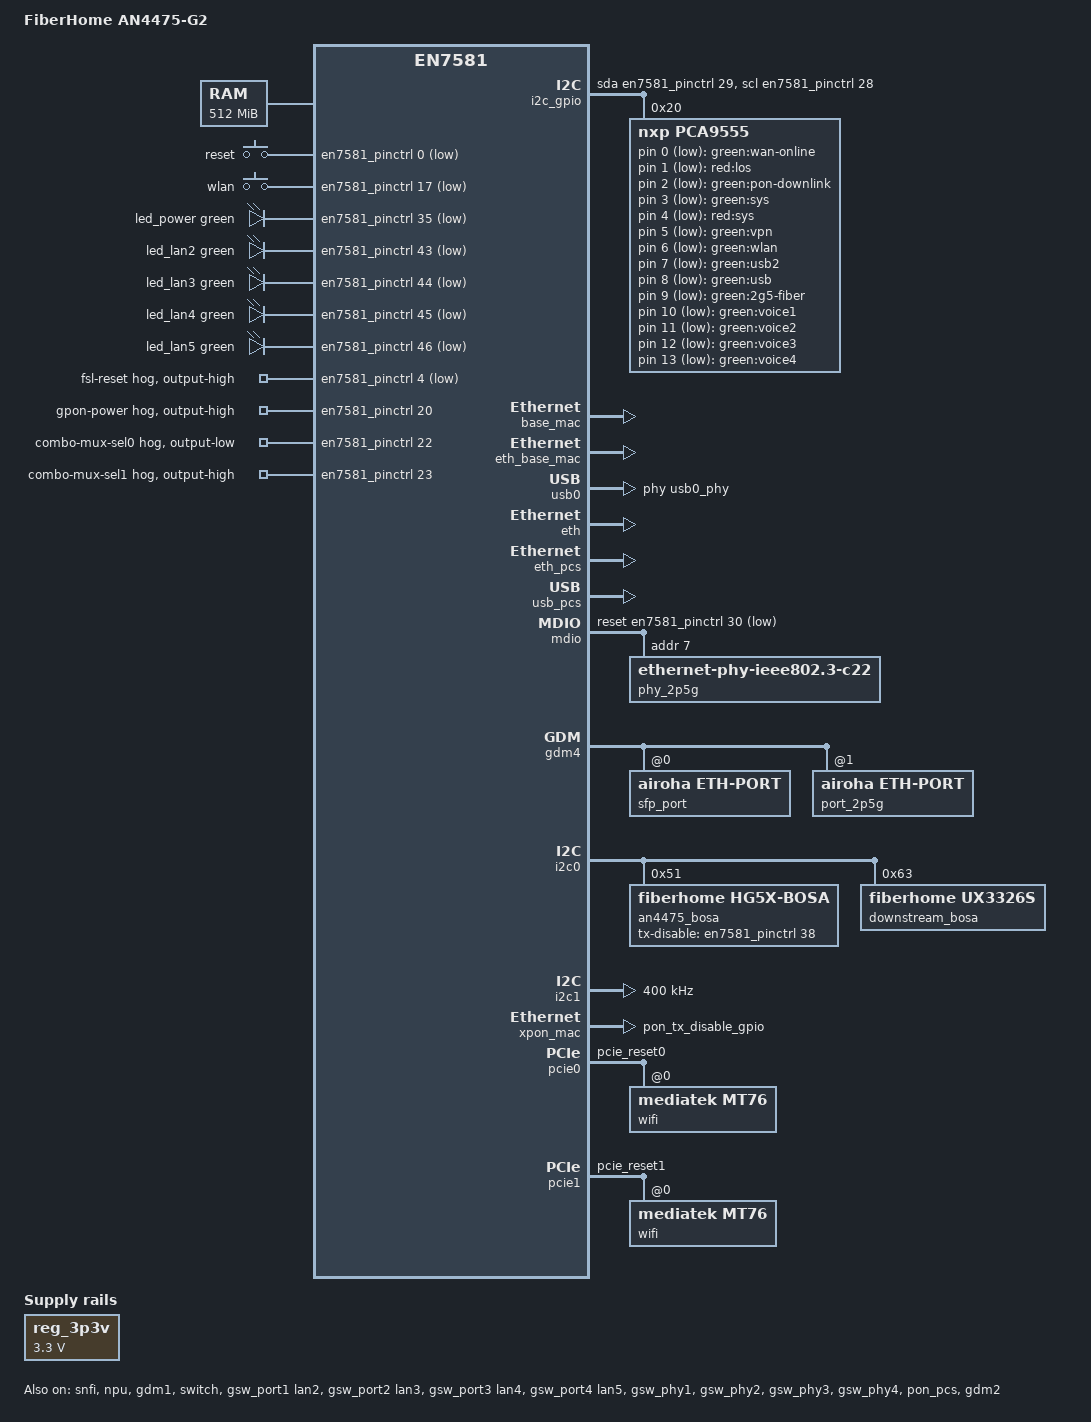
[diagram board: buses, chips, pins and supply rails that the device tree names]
// SPDX-License-Identifier: (GPL-2.0-only OR BSD-2-Clause)
/dts-v1/;

/memreserve/ 0x80000000 0x200000;

#include <dt-bindings/gpio/gpio.h>
#include <dt-bindings/input/input.h>
#include <dt-bindings/leds/common.h>
#include <dt-bindings/clock/en7523-clk.h>
#include <dt-bindings/reset/airoha,en7581-reset.h>
#include "an7581.dtsi"


/ {
	model = "FiberHome AN4475-G2";
	compatible = "fiberhome,an4475-g2", "airoha,an7581", "airoha,en7581";
	variant = "usb-sfp";

	aliases {
		label-mac-device = &gdm2;
		led-boot = &led_power;
		led-failsafe = &led_power;
		led-running = &led_power;
		led-upgrade = &led_power;

		serial0 = &uart1;
	};

	chosen {
		rootdisk = <&ubi_fit>;
		bootargs = "console=ttyS0,115200 earlycon";
		stdout-path = "serial0:115200n8";
	};

	memory@80000000 {
		device_type = "memory";
		reg = <0x0 0x80000000 0x0 0x20000000>;
	};

	keys {
		compatible = "gpio-keys";

		key-reset {
			label = "reset";
			linux,code = <KEY_RESTART>;
			gpios = <&en7581_pinctrl 0 GPIO_ACTIVE_LOW>;
			debounce-interval = <60>;
		};

		key-wlan {
			label = "wlan";
			linux,code = <KEY_WLAN>;
			gpios = <&en7581_pinctrl 17 GPIO_ACTIVE_LOW>;
			debounce-interval = <60>;
		};
	};


	leds {
		compatible = "gpio-leds";

		led_power: led-power {
			color = <LED_COLOR_ID_GREEN>;
			function = LED_FUNCTION_POWER;
			gpios = <&en7581_pinctrl 35 GPIO_ACTIVE_LOW>;
			default-state = "on";
			panic-indicator;
		};

		led_lan2: led-lan2 {
			color = <LED_COLOR_ID_GREEN>;
			function = LED_FUNCTION_LAN;
			function-enumerator = <2>;
			gpios = <&en7581_pinctrl 43 GPIO_ACTIVE_LOW>;
		};

		led_lan3: led-lan3 {
			color = <LED_COLOR_ID_GREEN>;
			function = LED_FUNCTION_LAN;
			function-enumerator = <3>;
			gpios = <&en7581_pinctrl 44 GPIO_ACTIVE_LOW>;
		};

		led_lan4: led-lan4 {
			color = <LED_COLOR_ID_GREEN>;
			function = LED_FUNCTION_LAN;
			function-enumerator = <4>;
			gpios = <&en7581_pinctrl 45 GPIO_ACTIVE_LOW>;
		};

		led_lan5: led-lan5 {
			color = <LED_COLOR_ID_GREEN>;
			function = LED_FUNCTION_LAN;
			function-enumerator = <5>;
			gpios = <&en7581_pinctrl 46 GPIO_ACTIVE_LOW>;
		};
	};

	i2c_gpio: i2c-gpio {
		compatible = "i2c-gpio";
		sda-gpios = <&en7581_pinctrl 29 (GPIO_ACTIVE_HIGH | GPIO_OPEN_DRAIN)>;
		scl-gpios = <&en7581_pinctrl 28 (GPIO_ACTIVE_HIGH | GPIO_OPEN_DRAIN)>;
		i2c-gpio,delay-us = <10>;	/* ~50 kHz, conservative */
		i2c-gpio,timeout-ms = <100>;
		#address-cells = <1>;
		#size-cells = <0>;

		pca9555: gpio@20 {
			compatible = "nxp,pca9555";
			reg = <0x20>;
			gpio-controller;
			#gpio-cells = <2>;
		};
	};

	leds_expander: leds-expander {
		compatible = "gpio-leds";

		/* P0.0 - 面板丝印"光纤" */
		led_online: pon0-online {
			label = "green:wan-online";
			gpios = <&pca9555 0 GPIO_ACTIVE_LOW>;
			linux,default-trigger = "pon0-online";
		};

		/* P0.1 - 面板丝印"光信号"（LOS 告警，红色）*/
		led_los: pon0-los {
			label = "red:los";
			gpios = <&pca9555 1 GPIO_ACTIVE_LOW>;
			linux,default-trigger = "pon0-los";
		};

		/* P0.2 - 面板丝印"下行PON"（绿色，FTTR 下联口状态） */
		led_pon_downlink: led-pon-downlink {
			label = "green:pon-downlink";
			gpios = <&pca9555 2 GPIO_ACTIVE_LOW>;
			default-state = "off";
		};

		/*
		 * P0.3 / P0.4 - 面板丝印"系统"，一颗双色灯
		 * 拉低 P0.3 得绿、拉低 P0.4 得红（同时拉低呈偏黄）。
		 */
		led_sys: led-sys {
			label = "green:sys";
			gpios = <&pca9555 3 GPIO_ACTIVE_LOW>;
			default-state = "on";
		};

		led_sys_red: led-sys-red {
			label = "red:sys";
			gpios = <&pca9555 4 GPIO_ACTIVE_LOW>;
			default-state = "off";
		};

		/* P0.5 - 面板丝印"VPN" */
		led_vpn: led-vpn {
			label = "green:vpn";
			gpios = <&pca9555 5 GPIO_ACTIVE_LOW>;
			default-state = "off";
		};

		/* P0.6 - 面板丝印"WLAN" */
		led_wlan: led-wlan {
			label = "green:wlan";
			gpios = <&pca9555 6 GPIO_ACTIVE_LOW>;
			default-state = "keep";
		};

		led_usb2: led-usb2 {
			label = "green:usb2";
			gpios = <&pca9555 7 GPIO_ACTIVE_LOW>;
			default-state = "off";
		};

		led_usb1: led-usb1 {
			label = "green:usb";
			gpios = <&pca9555 8 GPIO_ACTIVE_LOW>;
			default-state = "off";
		};

		/* 2.5G 光电复用口的光口（SFP 笼）指示，与 PHY 侧无关 */
		led_2g5_fiber: led-2g5-fiber {
			label = "green:2g5-fiber";
			gpios = <&pca9555 9 GPIO_ACTIVE_LOW>;
			default-state = "off";
		};

		led_voice1: led-voice-1 {
			label = "green:voice1";
			gpios = <&pca9555 10 GPIO_ACTIVE_LOW>;
			default-state = "off";
		};

		led_voice2: led-voice-2 {
			label = "green:voice2";
			gpios = <&pca9555 11 GPIO_ACTIVE_LOW>;
			default-state = "off";
		};

		led_voice3: led-voice-3 {
			label = "green:voice3";
			gpios = <&pca9555 12 GPIO_ACTIVE_LOW>;
			default-state = "off";
		};

		led_voice4: led-voice-4 {
			label = "green:voice4";
			gpios = <&pca9555 13 GPIO_ACTIVE_LOW>;
			default-state = "off";
		};
	};

	/* The USB PHY 3.3V reference supply is always on. */
	reg_3p3v: regulator-3p3v {
		compatible = "regulator-fixed";
		regulator-always-on;
		regulator-boot-on;
		regulator-min-microvolt = <3300000>;
		regulator-max-microvolt = <3300000>;
		regulator-name = "fixed-3.3V";
	};

};

&en7581_pinctrl {
	gpio-ranges = <&en7581_pinctrl 0 13 50>;

	pon_pins: pon-pins {
		mux {
			function = "pon";
			groups = "pon_tx_disable_gpio";
		};
	};

	downstream_pon_spi_pins: downstream-pon-spi-pins {
		mux {
			function = "pcm_spi";
			groups = "pcm_spi";
		};
	};

	mdio_pins: mdio-pins {
		mux {
			function = "mdio";
			groups = "mdio";
		};

		conf {
			pins = "gpio2";
			output-high;
		};
	};
	
	pcie0_rst_pins: pcie0-rst-pins {
		conf {
			pins = "pcie_reset0";
			drive-open-drain = <1>;
		};
	};

	pcie1_rst_pins: pcie1-rst-pins {
		conf {
			pins = "pcie_reset1";
			drive-open-drain = <1>;
		};
	};

	i2c1_pins: i2c1-pins {
		mux {
			function = "i2c";
			groups = "i2c1";
		};
	};


	fsl_reset_hog: fsl-reset-hog {
		gpio-hog;
		gpios = <4 GPIO_ACTIVE_LOW>;
		output-high;
		line-name = "fsl-reset";
	};


	gpon_power_hog: gpon-power-hog {
		gpio-hog;
		gpios = <20 GPIO_ACTIVE_HIGH>;
		output-high;
		line-name = "gpon-power";
	};

	combo_mux_sel0_hog: combo-mux-sel0-hog {
		gpio-hog;
		gpios = <22 GPIO_ACTIVE_HIGH>;
		output-low;
		line-name = "combo-mux-sel0";
	};

	combo_mux_sel1_hog: combo-mux-sel1-hog {
		gpio-hog;
		gpios = <23 GPIO_ACTIVE_HIGH>;
		output-high;
		line-name = "combo-mux-sel1";
	};

};

&snfi {
	status = "okay";
};

&{/soc} {

	pcm_spi: spi@1fbd4000 {
		compatible = "airoha,en7581-spi", "airoha,spi";
		reg = <0x0 0x1fbd4000 0x0 0x140>;

		clocks = <&scuclk EN7523_CLK_SPI>;
		clock-names = "spi";
		resets = <&scuclk EN7581_SFC2_PCM_RST>;
		reset-names = "pcm";

		#address-cells = <1>;
		#size-cells = <0>;
		spi-num-chipselects = <2>;

		pinctrl-names = "default";
		pinctrl-0 = <&downstream_pon_spi_pins>;

		status = "disabled";

		fsl: fsl@0 {
			compatible = "fiberhome,an4475-g2-fsl";
			reg = <0>;
			spi-max-frequency = <20000000>;
			spi-cpol;
			spi-cpha;
			reset-gpios = <&en7581_pinctrl 4 GPIO_ACTIVE_LOW>;
		};
	};
};

&spi_nand {
	#address-cells = <1>;
	#size-cells = <1>;

	partitions: partitions {
		compatible = "fixed-partitions";
		#address-cells = <1>;
		#size-cells = <1>;

		partition@0 {
			label = "bl2";
			reg = <0x00000000 0x00020000>;
			read-only;
		};

		/* UBI manages every eraseblock after BL2. */
		partition@20000 {
			label = "ubi";
			reg = <0x00020000 0x00000000>;
			compatible = "linux,ubi";

			volumes {
				ubi_fip: ubi-volume-fip {
					/* The second-stage FIP contains BL31 and U-Boot. */
					volname = "fip";
				};

				ubi_env: ubi-volume-ubootenv {
					volname = "ubootenv";
				};

				ubi_env2: ubi-volume-ubootenv2 {
					volname = "ubootenv2";
				};

				ubi_factory: ubi-volume-factory {
					volname = "factory";
				};

				ubi_fit: ubi-volume-fit {
					volname = "fit";
				};
			};
		};
	};
};

&ubi_factory {
	nvmem-layout {
		compatible = "fixed-layout";
		#address-cells = <1>;
		#size-cells = <1>;

		container_magic: magic@0 {
			reg = <0x000000 0x000008>;
		};

		device_serial: device-serial@20 {
			reg = <0x000020 0x000018>;
		};

		pon_serial: pon-serial@a2 {
			reg = <0x0000a2 0x00000c>;
		};

		base_mac: base-mac@40 {
			compatible = "mac-base";
			reg = <0x000040 0x000006>;
			#nvmem-cell-cells = <1>;
		};

		eth_base_mac: eth-base-mac@46 {
			compatible = "mac-base";
			reg = <0x000046 0x000006>;
			#nvmem-cell-cells = <1>;
		};

		oui: oui@4c {
			reg = <0x00004c 0x000003>;
		};

		vendor_code: vendor-code@4f {
			reg = <0x00004f 0x000002>;
		};

		gpon_password: gpon-password@51 {
			reg = <0x000051 0x00000a>;
		};

		internet_mac: internet-mac@60 {
			reg = <0x000060 0x000006>;
		};

		tr069_mac: tr069-mac@66 {
			reg = <0x000066 0x000006>;
		};

		voip_mac: voip-mac@6c {
			reg = <0x00006c 0x000006>;
		};

		priprotocol_mac: priprotocol-mac@72 {
			reg = <0x000072 0x000006>;
		};

		wifi_mac_2g4: wifi-mac-2g4@96 {
			reg = <0x000096 0x000006>;
		};

		wifi_mac_5g: wifi-mac-5g@9c {
			reg = <0x00009c 0x000006>;
		};

		/* MT7993_EEPROM.bin: 1353728 B, stored verbatim, ends at 0x18a800. */
		vendor_eeprom: eeprom-vendor@40000 {
			reg = <0x040000 0x14a800>;
		};

		pon_cal_10ge_asym: calibration-10ge-asym@1a0000 {
			reg = <0x1a0000 0x000800>;
		};

		pon_cal_10ge_sym: calibration-10ge-sym@1a1000 {
			reg = <0x1a1000 0x000800>;
		};

		pon_cal_xg: calibration-xg@1a2000 {
			reg = <0x1a2000 0x000800>;
		};

		pon_cal_xgs: calibration-xgs@1a3000 {
			reg = <0x1a3000 0x000800>;
		};

		pon_calibration: calibration@1a4000 {
			reg = <0x1a4000 0x000800>;
		};

		pon_cal_olt_downlink: calibration-olt-downlink@1a5000 {
			reg = <0x1a5000 0x000800>;
		};

		apd_wtd01: apd-wtd01@1a6000 {
			reg = <0x1a6000 0x00012a>;
		};

		apd_ys01: apd-ys01@1a7000 {
			reg = <0x1a7000 0x00012c>;
		};

		bosa_info: bosa-info@1a8000 {
			reg = <0x1a8000 0x0000e6>;
		};

		bosa_rssi: bosa-rssi@1a9000 {
			reg = <0x1a9000 0x0000cc>;
		};

		lan_optic_tx: lan-optic-tx-calib@1aa000 {
			reg = <0x1aa000 0x000218>;
		};

		wifi_eeprom: eeprom@1ab000 {
			/* Exactly 7680 B = the mt76/OpenWrt EEPROM view. The full
			 * vendor image is 1353728 B (0x14a800) in vendor_eeprom. */
			reg = <0x1ab000 0x001e00>;
		};
	};
};

&ubi_env {
	nvmem-layout {
		compatible = "u-boot,env-redundant-bool";
	};
};

&ubi_env2 {
	nvmem-layout {
		compatible = "u-boot,env-redundant-bool";
	};
};

&usb0 {
	status = "okay";
	mediatek,u3p-dis-msk = <0x1>;
	phys = <&usb0_phy PHY_TYPE_USB2>;
	vusb33-supply = <&reg_3p3v>;
	#address-cells = <1>;
	#size-cells = <0>;
};

&npu {
	status = "okay";
	firmware-name = "airoha/en7581_MT7996_npu_rv32.bin",
			"airoha/en7581_MT7996_npu_data.bin";
};

&eth {
	status = "okay";
};

&gdm1 {
	nvmem-cell-names = "mac-address";
	nvmem-cells = <&eth_base_mac 0>;
	status = "okay";
};

&eth_pcs {
	status = "okay";
};

&usb_pcs {
	status = "okay";
};

&mdio {
	reset-gpios = <&en7581_pinctrl 30 GPIO_ACTIVE_LOW>;
	reset-delay-us = <15000>;
	reset-post-delay-us = <68000>;

	phy_2p5g: ethernet-phy@7 {
		compatible = "ethernet-phy-ieee802.3-c22";
		reg = <7>;
	};
};


&gdm4 {
	/delete-property/ pcs-handle;
	#address-cells = <1>;
	#size-cells = <0>;
	status = "okay";

	sfp_port: ethernet-port@0 {
		compatible = "airoha,eth-port";
		reg = <0>;
		managed = "in-band-status";
		pcs-handle = <&eth_pcs>;
		phy-mode = "2500base-x";
		nvmem-cells = <&eth_base_mac 1>;
		nvmem-cell-names = "mac-address";
		openwrt,netdev-name = "sfp0";
		status = "okay";
	};

	port_2p5g: ethernet-port@1 {
		compatible = "airoha,eth-port";
		reg = <1>;
		pcs-handle = <&usb_pcs>;
		phy-handle = <&phy_2p5g>;
		phy-mode = "2500base-x";
		nvmem-cells = <&eth_base_mac 2>;
		nvmem-cell-names = "mac-address";
		openwrt,netdev-name = "lan1";
		status = "okay";
	};
};

&switch {
	pinctrl-names = "default";
	pinctrl-0 = <&mdio_pins>;
	status = "okay";
};

&gsw_port1 {
	label = "lan2";
	nvmem-cell-names = "mac-address";
	nvmem-cells = <&eth_base_mac 3>;
	status = "okay";
};

&gsw_port2 {
	label = "lan3";
	/* eth3mac */
	nvmem-cell-names = "mac-address";
	nvmem-cells = <&eth_base_mac 4>;
	status = "okay";
};

&gsw_port3 {
	label = "lan4";
	/* eth4mac */
	nvmem-cell-names = "mac-address";
	nvmem-cells = <&eth_base_mac 5>;
	status = "okay";
};

&gsw_port4 {
	label = "lan5";
	/* eth5mac */
	nvmem-cell-names = "mac-address";
	nvmem-cells = <&eth_base_mac 6>;
	status = "okay";
};

&gsw_phy1 {
	interrupts = <1>;
	status = "okay";
};

&gsw_phy2 {
	interrupts = <2>;
	status = "okay";
};

&gsw_phy3 {
	interrupts = <3>;
	status = "okay";
};

&gsw_phy4 {
	interrupts = <4>;
	status = "okay";
};


&i2c0 {
	status = "okay";
	an4475_bosa: optical-front-end@51 {
		compatible = "fiberhome,hg5x-bosa", "airoha,paged-bosa";
		reg = <0x51>;
		fiberhome,ben-active-high;
		tx-disable-gpios = <&en7581_pinctrl 38 GPIO_ACTIVE_HIGH>;
		nvmem-cells = <&pon_calibration>;
		nvmem-cell-names = "calibration";
		status = "okay";
	};

	downstream_bosa: optical-front-end@63 {
		compatible = "fiberhome,ux3326s";
		reg = <0x63>;
	};
};

&i2c1 {
	status = "okay";
	clock-frequency = <400000>;
};

&pon_pcs {
	status = "okay";
};

&xpon_mac {
	pinctrl-names = "default";
	pinctrl-0 = <&pon_pins>;
	optical-front-end = <&an4475_bosa>;
	nvmem-cells = <&pon_serial>;
	nvmem-cell-names = "pon-serial";
	data-path = <&gdm2>;
	status = "okay";
};

&gdm2 {
	nvmem-cell-names = "mac-address";
	nvmem-cells = <&base_mac 0>;
	airoha,pon-data-path;
	status = "okay";
};


&pcie0 {
	status = "okay";
	max-link-speed = <2>;
	pinctrl-names = "default";
	pinctrl-0 = <&pcie0_rst_pins>;

	pcie@0,0 {
		reg = <0x0000 0 0 0 0>;
		#address-cells = <3>;
		#size-cells = <2>;

		wifi@0,0 {
			compatible = "mediatek,mt76";
			reg = <0x0000 0 0 0 0>;

			#address-cells = <1>;
			#size-cells = <0>;

			nvmem-cells = <&wifi_eeprom>;
			nvmem-cell-names = "eeprom";
			mediatek,eeprom-merge-otp;

			airoha,npu = <&npu>;
			airoha,eth = <&eth>;

			band@0 {
				reg = <0>;
				nvmem-cells = <&wifi_mac_2g4>;
				nvmem-cell-names = "mac-address";
			};

			band@1 {
				reg = <1>;
				nvmem-cells = <&wifi_mac_5g>;
				nvmem-cell-names = "mac-address";
			};
		};
	};
};

&pcie1 {
	status = "okay";
	max-link-speed = <2>;
	pinctrl-names = "default";
	pinctrl-0 = <&pcie1_rst_pins>;

	pcie@0,0 {
		reg = <0x0000 0 0 0 0>;
		#address-cells = <3>;
		#size-cells = <2>;

		wifi@0,0 {
			compatible = "mediatek,mt76";
			reg = <0x0000 0 0 0 0>;
		};
	};
};
